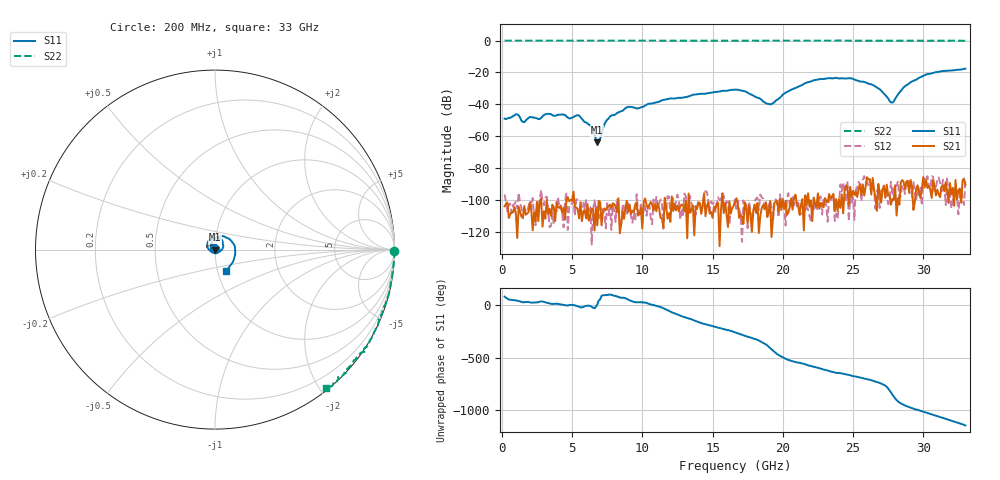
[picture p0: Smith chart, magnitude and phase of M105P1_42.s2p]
# GHZ S RI R 50
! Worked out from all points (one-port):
!   329 points, 200 MHz to 33 GHz, reference 50 ohm
!   lowest |S11| = -63.8 dB at 6.8 GHz (marker M1), VSWR 1.00, Z = 50.1 + j0.0116 ohm
!   |S11| at or under -10 dB: start of sweep to end of sweep
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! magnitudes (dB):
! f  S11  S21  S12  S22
! 200 MHz  -48.9  -103.9  -96.5  0.0
! 1 GHz  -46.2  -108.5  -100.9  0.0
! 1.6 GHz  -51.2  -103.8  -105.5  0.0
! 2 GHz  -47.8  -101.5  -100.5  0.0
! 3.3 GHz  -45.9  -108.9  -106.0  0.0
! 5.7 GHz  -49.1  -113.2  -104.5  0.0
! 6.5 GHz  -55.6  -106.0  -106.1  0.0
! 6.8 GHz  -63.8  -115.9  -104.2  0.0
! 7.4 GHz  -50.8  -106.4  -117.8  0.0
! 7.8 GHz  -47.0  -105.3  -118.7  0.0
! 9 GHz  -41.5  -107.5  -102.0  0.0
! 11.2 GHz  -38.3  -105.3  -102.0  0.0
! 16.6 GHz  -30.8  -101.9  -99.7  0.0
! 19.1 GHz  -40.0  -100.5  -100.7  0.0
! 22.1 GHz  -25.2  -113.2  -106.2  0.0
! 24.9 GHz  -23.7  -98.2  -102.7  -0.1
! 26.5 GHz  -28.3  -93.5  -93.8  -0.1
! 27.6 GHz  -37.8  -97.1  -100.6  0.0
! 27.8 GHz  -38.9  -99.3  -97.0  -0.1
! 28.7 GHz  -28.6  -93.1  -96.2  0.0
! 30.2 GHz  -21.3  -87.4  -88.0  -0.1
! 33 GHz  -17.6  -90.3  -88.3  -0.1
